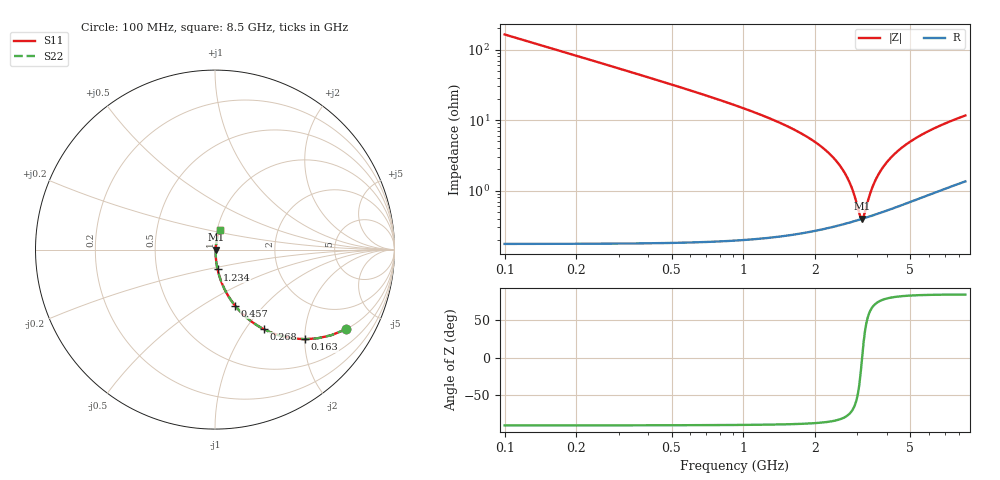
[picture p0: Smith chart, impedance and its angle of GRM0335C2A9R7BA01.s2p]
!Murata Part Number: GRM0335C2A9R7BA01
!These Parameters are Measured in Series Mode Connection
!Data Generated on Mar 30, 2021
!  o--ll--o
!Port1  Port2
!  o------o
!Operation Temp=25[degC], DC Bias Voltage=0[V]
!Freq. Start=100[MHz] Stop=9[GHz] 401[Steps]
# Hz S RI R 50
!Freq.(Hz) S11(Real) S11(Imag) S21(Real) S21(Imag) S12(Real) S12(Imag) S22(Real) S22(Imag)
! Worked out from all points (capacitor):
!   401 points, 100 MHz to 8.5 GHz, reference 50 ohm
!   read as one part in series: C = 9.7 pF near 142 MHz
!   lowest |Z| = 398 mohm at 3.145 GHz (marker M1)
!   series resonance near 3.14 GHz, so ESL is about 260 pH
!   S11 on the Smith chart (normalised r, x): 100 MHz: 1.00, -3.28; 163 MHz: 1.00, -2.01; 268 MHz: 1.00, -1.22; 457 MHz: 1.00, -0.70; 1.234 GHz: 1.00, -0.22; 8.5 GHz: 1.03, +0.23
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1e8  0.7285 -0.4442  0.2715 0.4442  0.2715 0.4442  0.7285 -0.4442
1.63e8  0.5019 -0.4991  0.4981 0.4991  0.4981 0.4991  0.5019 -0.4991
2.68e8  0.2703 -0.4427  0.7297 0.4427  0.7297 0.4427  0.2703 -0.4427
4.57e8  0.1111 -0.3117  0.8889 0.3117  0.8889 0.3117  0.1111 -0.3117
7.72e8  0.04 -0.1912  0.96 0.1912  0.96 0.1912  0.04 -0.1912
1.234e9  0.0145 -0.1104  0.9855 0.1104  0.9855 0.1104  0.0145 -0.1104
1.507e9  0.00918 -0.0826  0.9908 0.0826  0.9908 0.0826  0.00918 -0.0826
2.074e9  0.0047 -0.0441  0.9953 0.0441  0.9953 0.0441  0.0047 -0.0441
2.431e9  0.00382 -0.0267  0.9962 0.0267  0.9962 0.0267  0.00382 -0.0267
2.704e9  0.00365 -0.0155  0.9963 0.0155  0.9963 0.0155  0.00365 -0.0155
2.914e9  0.00373 -0.0077  0.9963 0.0077  0.9963 0.0077  0.00373 -0.0077
3.082e9  0.00389 -0.00193  0.9961 0.00193  0.9961 0.00193  0.00389 -0.00193
3.145e9  0.00397 0.000148  0.996 -0.000148  0.996 -0.000148  0.00397 0.000148
3.208e9  0.00405 0.00218  0.9959 -0.00218  0.9959 -0.00218  0.00405 0.00218
3.439e9  0.00445 0.0093  0.9955 -0.0093  0.9955 -0.0093  0.00445 0.0093
3.628e9  0.00486 0.0148  0.9951 -0.0148  0.9951 -0.0148  0.00486 0.0148
3.922e9  0.0056 0.0228  0.9944 -0.0228  0.9944 -0.0228  0.0056 0.0228
4.3e9  0.00673 0.0324  0.9933 -0.0324  0.9933 -0.0324  0.00673 0.0324
4.909e9  0.00887 0.0464  0.9911 -0.0464  0.9911 -0.0464  0.00887 0.0464
5.707e9  0.0121 0.0629  0.9879 -0.0629  0.9879 -0.0629  0.0121 0.0629
7.114e9  0.0187 0.0886  0.9813 -0.0886  0.9813 -0.0886  0.0187 0.0886
8.5e9  0.026 0.111  0.974 -0.111  0.974 -0.111  0.026 0.111
